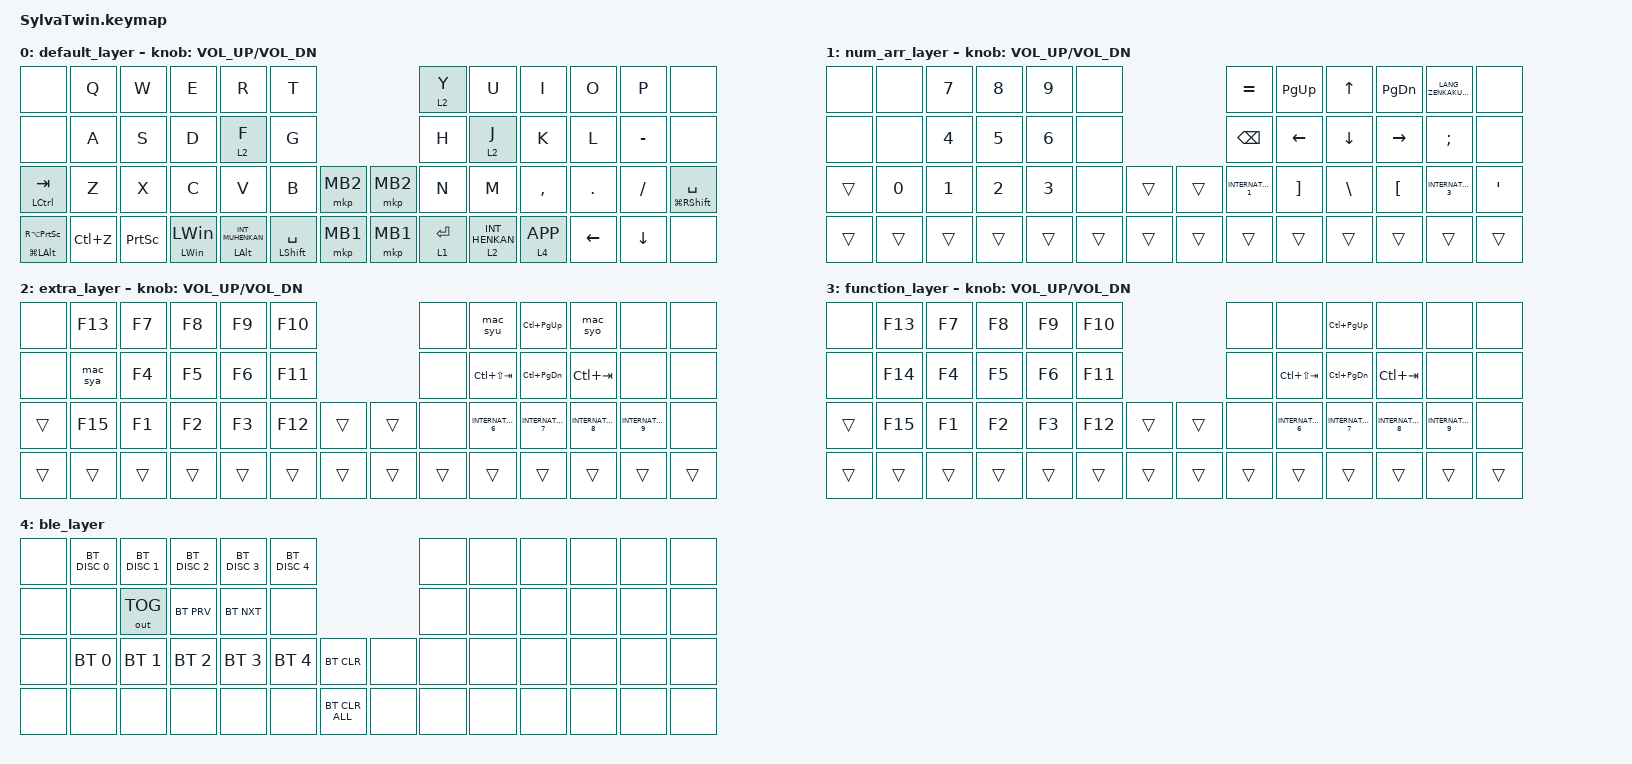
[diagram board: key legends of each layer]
/*
 * Copyright (c) 2020 The ZMK Contributors
 *
 * SPDX-License-Identifier: MIT
 */

#include <behaviors.dtsi>
#include <dt-bindings/zmk/bt.h>
#include <dt-bindings/zmk/keys.h>
#include <dt-bindings/zmk/outputs.h>
#include <dt-bindings/zmk/pointing.h>

/ {
    combos {
        compatible = "zmk,combos";

        esc {
            bindings = <&kp ESCAPE>;
            key-positions = <2 3>;
            layers = <0>;
        };

        del {
            bindings = <&kp DELETE>;
            key-positions = <16 15>;
            layers = <0>;
        };

        home {
            bindings = <&mt RIGHT_ALT HOME>;
            key-positions = <19 20>;
            layers = <1>;
        };

        end {
            bindings = <&mt RCTRL END>;
            key-positions = <20 21>;
            layers = <1>;
        };

        enter {
            bindings = <&kp ENTER>;
            key-positions = <4 2 3>;
            layers = <0>;
        };

        scrsht {
            bindings = <&kp LA(PRINTSCREEN)>;
            key-positions = <14 16>;
            layers = <0>;
        };

        L2_RALT {
            bindings = <&mt RIGHT_ALT HOME>;
            key-positions = <19 20>;
            layers = <2>;
        };

        L2_CTRL {
            bindings = <&mt RCTRL END>;
            key-positions = <20 21>;
            layers = <2>;
        };

        p {
            bindings = <&kp P>;
            key-positions = <9 8>;
            layers = <0>;
        };

        q {
            bindings = <&kp Q>;
            key-positions = <4 3>;
        };

        alt_ctrl {
            bindings = <&mt RA(RCTRL) LS(INTERNATIONAL_1)>;
            key-positions = <20 21 19>;
            layers = <2>;
        };

        df_alt+cntrl {
            bindings = <&mt RA(RCTRL) LS(INTERNATIONAL_1)>;
            key-positions = <20 21 19>;
            layers = <0>;
        };
    };

    macros {
        mac_input_fa: kp_fa {
            compatible = "zmk,behavior-macro";
            #binding-cells = <0>;
            bindings = <&kp F &kp A>;
            label = "KP_FA";
        };

        mac_sya: mac_sh {
            compatible = "zmk,behavior-macro";
            #binding-cells = <0>;
            bindings = <&kp S &kp Y &kp A>;
            label = "MAC_SH";
        };

        mac_syu: mac_syu {
            compatible = "zmk,behavior-macro";
            #binding-cells = <0>;
            bindings = <&kp S &kp Y &kp U>;
            label = "MAC_SYU";
        };

        mac_syo: mac_syo {
            compatible = "zmk,behavior-macro";
            #binding-cells = <0>;
            bindings = <&kp S &kp Y &kp O>;
            label = "MAC_SYO";
        };
    };

    keymap {
        compatible = "zmk,keymap";

        default_layer {
            bindings = <
&none                             &kp Q      &kp W            &kp E                  &kp R                      &kp T                                     &lt 2 Y      &kp U             &kp I        &kp O     &kp P      &none
&none                             &kp A      &kp S            &kp D                  &lt 2 F                    &kp G                                     &kp H        &lt 2 J           &kp K        &kp L     &kp MINUS  &none
&mt LEFT_CONTROL TAB              &kp Z      &kp X            &kp C                  &kp V                      &kp B                 &mkp MB2  &mkp MB2  &kp N        &kp M             &kp COMMA    &kp DOT   &kp SLASH  &mt LG(RIGHT_SHIFT) SPACE
&mt LG(LEFT_ALT) RA(PRINTSCREEN)  &kp LC(Z)  &kp PRINTSCREEN  &mt LEFT_WIN LEFT_WIN  &mt LEFT_ALT INT_MUHENKAN  &mt LEFT_SHIFT SPACE  &mkp MB1  &mkp MB1  &lt 1 ENTER  &lt 2 INT_HENKAN  &lt 4 K_APP  &kp LEFT  &kp DOWN   &none
            >;

            sensor-bindings = <&inc_dec_kp C_VOL_UP C_VOL_DN>;
        };

        num_arr_layer {
            bindings = <
&none   &none   &kp N7        &kp N8  &kp N9  &none                   &kp EQUAL            &kp PAGE_UP     &kp UP_ARROW    &kp PAGE_DOWN  &kp LANG_ZENKAKUHANKAKU  &none
&none   &none   &kp NUMBER_4  &kp N5  &kp N6  &none                   &kp BACKSPACE        &kp LEFT_ARROW  &kp DOWN_ARROW  &kp RIGHT      &kp SEMICOLON            &none
&trans  &kp N0  &kp N1        &kp N2  &kp N3  &none   &trans  &trans  &kp INTERNATIONAL_1  &kp RBKT        &kp BACKSLASH   &kp LBKT       &kp INTERNATIONAL_3      &kp APOS
&trans  &trans  &trans        &trans  &trans  &trans  &trans  &trans  &trans               &trans          &trans          &trans         &trans                   &trans
            >;

            sensor-bindings = <&inc_dec_kp C_VOL_UP C_VOL_DN>;
        };

        extra_layer {
            bindings = <
&none   &kp F13   &kp F7  &kp F8  &kp F9  &kp F10                  &none   &mac_syu             &kp LC(PAGE_UP)      &mac_syo             &none                &none
&none   &mac_sya  &kp F4  &kp F5  &kp F6  &kp F11                  &none   &kp LC(LS(TAB))      &kp LC(PAGE_DOWN)    &kp LC(TAB)          &none                &none
&trans  &kp F15   &kp F1  &kp F2  &kp F3  &kp F12  &trans  &trans  &none   &kp INTERNATIONAL_6  &kp INTERNATIONAL_7  &kp INTERNATIONAL_8  &kp INTERNATIONAL_9  &none
&trans  &trans    &trans  &trans  &trans  &trans   &trans  &trans  &trans  &trans               &trans               &trans               &trans               &trans
            >;

            sensor-bindings = <&inc_dec_kp C_VOL_UP C_VOL_DN>;
        };

        function_layer {
            bindings = <
&none   &kp F13  &kp F7  &kp F8  &kp F9  &kp F10                  &none   &none                &kp LC(PAGE_UP)      &none                &none                &none
&none   &kp F14  &kp F4  &kp F5  &kp F6  &kp F11                  &none   &kp LC(LS(TAB))      &kp LC(PAGE_DOWN)    &kp LC(TAB)          &none                &none
&trans  &kp F15  &kp F1  &kp F2  &kp F3  &kp F12  &trans  &trans  &none   &kp INTERNATIONAL_6  &kp INTERNATIONAL_7  &kp INTERNATIONAL_8  &kp INTERNATIONAL_9  &none
&trans  &trans   &trans  &trans  &trans  &trans   &trans  &trans  &trans  &trans               &trans               &trans               &trans               &trans
            >;

            sensor-bindings = <&inc_dec_kp C_VOL_UP C_VOL_DN>;
        };

        ble_layer {
            bindings = <
&none  &bt BT_DISC 0  &bt BT_DISC 1  &bt BT_DISC 2  &bt BT_DISC 3  &bt BT_DISC 4                         &none  &none  &none  &none  &none  &none
&none  &none          &out OUT_TOG   &bt BT_PRV     &bt BT_NXT     &none                                 &none  &none  &none  &none  &none  &none
&none  &bt BT_SEL 0   &bt BT_SEL 1   &bt BT_SEL 2   &bt BT_SEL 3   &bt BT_SEL 4   &bt BT_CLR      &none  &none  &none  &none  &none  &none  &none
&none  &none          &none          &none          &none          &none          &bt BT_CLR_ALL  &none  &none  &none  &none  &none  &none  &none
            >;
        };
    };
};
